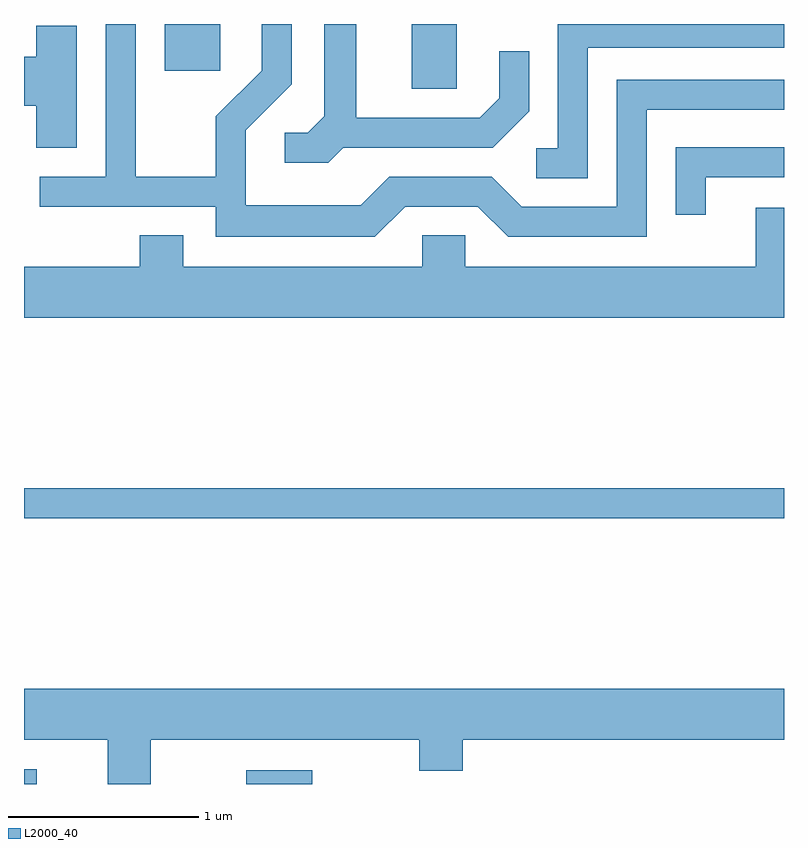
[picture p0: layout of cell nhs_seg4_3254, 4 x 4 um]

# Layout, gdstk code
import gdstk
lib = gdstk.Library(unit=1e-6, precision=1e-09)
def R(c, l, rs):  # rectangles x0, y0, x1, y1
    for r in rs: c.add(gdstk.rectangle(r[:2], r[2:], *l))
def P(c, l, *ps):  # polygons
    for p in ps: c.add(gdstk.Polygon(p, *l))
L2000_40 = (2000, 40)

nhs_seg4_3254 = lib.new_cell('nhs_seg4_3254')
R(nhs_seg4_3254, L2000_40, [(279.611,1369.982,279.678,1370.059), (280.781,1369.982,281.128,1370.054), (279.611,1371.381,283.611,1371.539), (281.651,1373.641,281.889,1373.982), (280.351,1373.736,280.644,1373.982)])
P(nhs_seg4_3254, L2000_40, [(281.292,1373.331),(282.077,1373.331),(282.269,1373.524),(282.269,1373.838),(282.111,1373.838),(282.111,1373.592),(282.009,1373.489),(281.359,1373.489),(281.359,1373.982),(281.191,1373.982),(281.191,1373.497),(281.104,1373.409),(280.983,1373.409),(280.983,1373.251),(281.212,1373.251)],
  [(282.579,1373.856),(283.611,1373.856),(283.611,1373.982),(282.421,1373.982),(282.421,1373.329),(282.308,1373.329),(282.308,1373.171),(282.579,1373.171)],
  [(281.617,1373.021),(281.999,1373.021),(282.159,1372.861),(282.889,1372.861),(282.889,1373.531),(283.611,1373.531),(283.611,1373.689),(282.731,1373.689),(282.731,1373.019),(282.232,1373.019),(282.072,1373.179),(281.534,1373.179),(281.384,1373.029),(280.779,1373.029),(280.779,1373.424),(281.019,1373.664),(281.019,1373.982),(280.861,1373.982),(280.861,1373.737),(280.621,1373.497),(280.621,1373.179),(280.199,1373.179),(280.199,1373.982),(280.041,1373.982),(280.041,1373.179),(279.693,1373.179),(279.693,1373.021),(280.621,1373.021),(280.621,1372.861),(281.457,1372.861)],
  [(279.889,1373.974),(279.676,1373.974),(279.676,1373.809),(279.611,1373.809),(279.611,1373.551),(279.676,1373.551),(279.676,1373.331),(279.889,1373.331)],
  [(283.199,1373.176),(283.611,1373.176),(283.611,1373.334),(283.041,1373.334),(283.041,1372.978),(283.199,1372.978)],
  [(283.611,1373.014),(283.461,1373.014),(283.461,1372.704),(281.934,1372.704),(281.934,1372.869),(281.706,1372.869),(281.706,1372.704),(280.449,1372.704),(280.449,1372.869),(280.221,1372.869),(280.221,1372.704),(279.611,1372.704),(279.611,1372.436),(283.611,1372.436)],
  [(280.279,1370.216),(281.691,1370.216),(281.691,1370.051),(281.919,1370.051),(281.919,1370.216),(283.611,1370.216),(283.611,1370.484),(279.611,1370.484),(279.611,1370.216),(280.051,1370.216),(280.051,1369.982),(280.279,1369.982)])

lib.write_gds('nhs_seg4_3254.gds')
